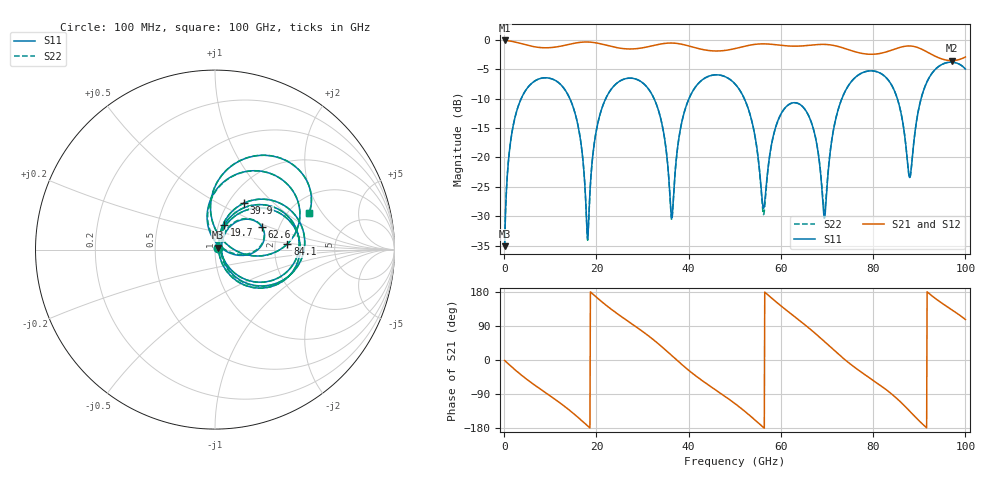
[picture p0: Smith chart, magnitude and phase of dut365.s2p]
! Touchstone file exported from HFSS 2026.1.0
!  File:  C:/ffzhzh/LocalFiles/Ansys_Project_Files/temp_train_TSV_RDL_365_1783711631_45496.aedt
!  Generated:  03:34:25 AM Jul 11, 2026
!  Design:  TSV_RDL
!  Project:  temp_train_TSV_RDL_365_1783711631_45496
! Variables:
!  h_bsmrdl = 4.34um
!  h_ox = 20um
!  h_rdl = 5um
!  h_sub = 67.92um
!  h_tmrdl = 4.61um
!  h_tsv = 67.92um
!  h_via = 3um
!  l_bsmrdl = 637.78um
!  l_sub = 3228.55um
!  l_tmrdl = 204.09um
!  m_sub = 200um
!  pitch = 42.69um
!  r_tsv = 10.17um
!  s_tmrdl = 10um
!  w_bsmrdl = 20.4um
!  w_sub = 500um
!  w_tmrdl = 12.55um
!  x_tsv_center1 = 210.365um
!  x_tsv_center2 = 868.545um
!  x_tsv_center3 = 1085.185um
!  x_tsv_center4 = 1743.365um
!  x_tsv_center5 = 1960.005um
!  x_tsv_center6 = 2618.185um
# GHz S MA R 50.000000
! Terminal data exported
! Port[1] = TM_RDL1_1_T1
! Port[2] = TM_RDL5_1_T1
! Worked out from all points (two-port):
!   1000 points, 100 MHz to 100 GHz, reference 50 ohm
!   highest |S21| = -0.12 dB at 100 MHz (marker M1); lowest = -3.6 dB at 97 GHz (marker M2)
!   |S21| within 3 dB of the highest: start of sweep to 94.39 GHz; 99.5 GHz to end of sweep
!   lowest |S11| = -35.1 dB at 100 MHz (marker M3), VSWR 1.04, Z = 51.4 + j1.07 ohm
!   |S11| at or under -10 dB: 14.24 GHz to 22.03 GHz (7.789 GHz wide, 43 % of centre); 32.49 GHz to 40.08 GHz (7.59 GHz wide, 20.9 % of centre); 52.06 GHz to 73.23 GHz (21.17 GHz wide, 33.8 % of centre) (the widest 3 of 5)
!   |S22| runs from -35.1 to -3.8 dB; largest |S21 - S12| = 2.3e-14
!   S11 on the Smith chart (normalised r, x): 100 MHz: 1.03, +0.02; 19.7 GHz: 1.07, +0.30; 39.9 GHz: 1.18, +0.67; 62.6 GHz: 1.64, +0.45; 84.1 GHz: 2.34, +0.18; 100 GHz: 2.55, +1.53
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0.1  0.01756 36.5  0.986 -1.2  0.986 -1.2  0.01756 36.5
! Gamma 0 0 0 0
! Port Impedance 50 0 50 0
1.9  0.1808 63.1  0.9648 -21.0  0.9648 -21.0  0.1808 63.0
5.7  0.4164 28.8  0.8848 -58.2  0.8848 -58.2  0.4164 28.7
16.8  0.1193 -62.3  0.9532 -159.8  0.9532 -159.8  0.1193 -62.6
18.1  0.02028 5.9  0.9569 -173.9  0.9569 -173.9  0.01973 5.6
19.7  0.1453 69.4  0.9435 168.9  0.9435 168.9  0.1451 69.6
26.2  0.4652 16.2  0.838 107.9  0.838 107.9  0.4652 16.2
33.4  0.255 -42.5  0.9114 43.1  0.9114 43.1  0.255 -42.7
36.3  0.03039 4.7  0.9375 12.1  0.9375 12.1  0.02938 4.1
39.9  0.3041 58.1  0.888 -26.1  0.888 -26.1  0.3038 58.3
50.1  0.419 -23.4  0.8419 -115.5  0.8419 -115.5  0.4188 -23.7
56.2  0.03685 -2.3  0.9228 -177.8  0.9228 -177.8  0.03257 -2.8
62.6  0.2908 25.4  0.8817 118.0  0.8817 118.0  0.2904 26.4
66.7  0.1932 -7.8  0.9011 78.0  0.9011 78.0  0.1934 -6.3
69.5  0.03055 54.1  0.9127 48.0  0.9127 48.0  0.03511 53.9
74  0.3686 84.3  0.839 -0.4  0.839 -0.4  0.3691 83.8
83.4  0.4476 10.2  0.8004 -83.7  0.8004 -83.7  0.4475 10.1
84.1  0.4052 4.6  0.8178 -90.6  0.8178 -90.6  0.405 4.5
87.9  0.06732 40.5  0.8856 -134.6  0.8856 -134.6  0.06673 40.7
91.2  0.3965 86.4  0.806 -174.6  0.806 -174.6  0.3967 86.5
97  0.6447 42.2  0.6645 132.9  0.6645 132.9  0.645 42.4
100  0.5635 21.3  0.7135 106.8  0.7135 106.8  0.5641 21.5
